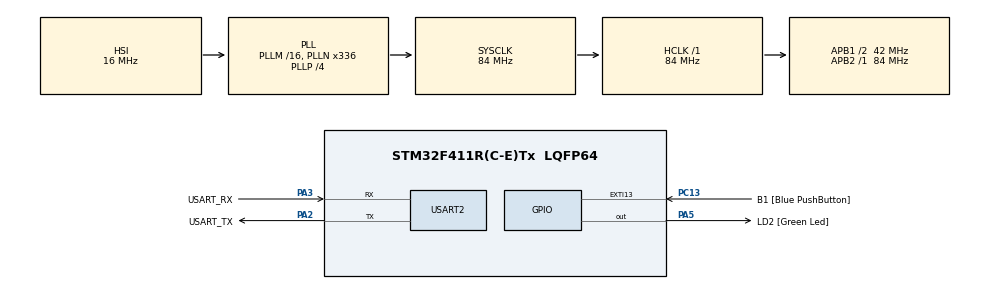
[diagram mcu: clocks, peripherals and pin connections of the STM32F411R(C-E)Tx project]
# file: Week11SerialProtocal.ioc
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Dma.Request0=USART2_RX
Dma.Request1=USART2_TX
Dma.USART2_RX.0.Direction=DMA_PERIPH_TO_MEMORY
Dma.USART2_RX.0.FIFOMode=DMA_FIFOMODE_DISABLE
Dma.USART2_RX.0.Instance=DMA1_Stream5
Dma.USART2_RX.0.MemDataAlignment=DMA_MDATAALIGN_BYTE
Dma.USART2_RX.0.MemInc=DMA_MINC_ENABLE
Dma.USART2_RX.0.Mode=DMA_CIRCULAR
Dma.USART2_RX.0.PeriphDataAlignment=DMA_PDATAALIGN_BYTE
Dma.USART2_RX.0.PeriphInc=DMA_PINC_DISABLE
Dma.USART2_RX.0.Priority=DMA_PRIORITY_LOW
Dma.USART2_TX.1.Direction=DMA_MEMORY_TO_PERIPH
Dma.USART2_TX.1.FIFOMode=DMA_FIFOMODE_DISABLE
Dma.USART2_TX.1.Instance=DMA1_Stream6
Dma.USART2_TX.1.MemDataAlignment=DMA_MDATAALIGN_BYTE
Dma.USART2_TX.1.MemInc=DMA_MINC_ENABLE
Dma.USART2_TX.1.Mode=DMA_NORMAL
Dma.USART2_TX.1.PeriphDataAlignment=DMA_PDATAALIGN_BYTE
Dma.USART2_TX.1.PeriphInc=DMA_PINC_DISABLE
Dma.USART2_TX.1.Priority=DMA_PRIORITY_LOW
Mcu.Family=STM32F4
Mcu.Name=STM32F411R(C-E)Tx
Mcu.Package=LQFP64
NVIC.DMA1_Stream5_IRQn=true\:0\:0\:false\:false\:true\:false\:true
NVIC.DMA1_Stream6_IRQn=true\:0\:0\:false\:false\:true\:false\:true
NVIC.PriorityGroup=NVIC_PRIORITYGROUP_0
NVIC.USART2_IRQn=true\:0\:0\:false\:false\:true\:true\:true
PA13.GPIO_Label=TMS
PA13.Mode=Serial_Wire
PA13.Signal=SYS_JTMS-SWDIO
PA14.GPIO_Label=TCK
PA14.Mode=Serial_Wire
PA14.Signal=SYS_JTCK-SWCLK
PA2.GPIO_Label=USART_TX
PA2.Mode=Asynchronous
PA2.Signal=USART2_TX
PA3.GPIO_Label=USART_RX
PA3.Mode=Asynchronous
PA3.Signal=USART2_RX
PA5.GPIO_Label=LD2 [Green Led]
PA5.Signal=GPIO_Output
PB3.GPIO_Label=SWO
PB3.Signal=SYS_JTDO-SWO
PC13-ANTI_TAMP.GPIO_Label=B1 [Blue PushButton]
PC13-ANTI_TAMP.GPIO_ModeDefaultEXTI=GPIO_MODE_IT_FALLING
PC13-ANTI_TAMP.Signal=GPXTI13
PC14-OSC32_IN.Mode=LSE-External-Oscillator
PC14-OSC32_IN.Signal=RCC_OSC32_IN
PC15-OSC32_OUT.Mode=LSE-External-Oscillator
PC15-OSC32_OUT.Signal=RCC_OSC32_OUT
PH0\ -\ OSC_IN.Mode=HSE-External-Clock-Source
PH0\ -\ OSC_IN.Signal=RCC_OSC_IN
PH1\ -\ OSC_OUT.Mode=HSE-External-Clock-Source
PH1\ -\ OSC_OUT.Signal=RCC_OSC_OUT
ProjectManager.HeapSize=0x200
ProjectManager.StackSize=0x400
ProjectManager.TargetToolchain=STM32CubeIDE
RCC.48MHZClocksFreq_Value=84000000
RCC.AHBFreq_Value=84000000
RCC.APB1CLKDivider=RCC_HCLK_DIV2
RCC.APB1Freq_Value=42000000
RCC.APB1TimFreq_Value=84000000
RCC.APB2Freq_Value=84000000
RCC.APB2TimFreq_Value=84000000
RCC.CortexFreq_Value=84000000
RCC.FLatency-AdvancedSettings=FLASH_LATENCY_2
RCC.HCLKFreq_Value=84000000
RCC.HSE_VALUE=8000000
RCC.HSI_VALUE=16000000
RCC.PLLN=336
RCC.PLLP=RCC_PLLP_DIV4
RCC.SYSCLKFreq_VALUE=84000000
RCC.SYSCLKSource=RCC_SYSCLKSOURCE_PLLCLK
RCC.VCOOutputFreq_Value=336000000
USART2.VirtualMode=VM_ASYNC
board=NUCLEO-F411RE

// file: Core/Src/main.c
/* USER CODE BEGIN Header */
/**
 ******************************************************************************
 * @file           : main.c
 * @brief          : Main program body
 ******************************************************************************
 * @attention
 *
 * <h2><center>&copy; Copyright (c) 2021 STMicroelectronics.
 * All rights reserved.</center></h2>
 *
 * This software component is licensed by ST under BSD 3-Clause license,
 * the "License"; You may not use this file except in compliance with the
 * License. You may obtain a copy of the License at:
 *                        opensource.org/licenses/BSD-3-Clause
 *
 ******************************************************************************
 */
/* USER CODE END Header */
#include "main.h"

/* USER CODE BEGIN Includes */
#include "stdio.h"
#include <stdlib.h>
#include "string.h"
/* USER CODE END Includes */

/* USER CODE BEGIN PD */
//#define UARTDEBUG
#define MAX_PACKET_LEN 255
//#define UARTDEBUG
/* USER CODE END PD */

UART_HandleTypeDef huart2;
DMA_HandleTypeDef hdma_usart2_rx;
DMA_HandleTypeDef hdma_usart2_tx;

/* USER CODE BEGIN PV */
typedef struct _UartStructure
{
	UART_HandleTypeDef *huart;
	uint16_t TxLen, RxLen;
	uint8_t *TxBuffer;
	uint16_t TxTail, TxHead;
	uint8_t *RxBuffer;
	uint16_t RxTail; //RXHeadUseDMA

} UARTStucrture;

UARTStucrture UART2 = { 0 };

uint8_t MainMemory[255] = { 0 };

uint8_t Round = 0;

typedef enum
{
	DNMXP_idle,
	DNMXP_1stHeader,
	DNMXP_2ndHeader,
	DNMXP_3rdHeader,
	DNMXP_Reserved,
	DNMXP_ID,
	DNMXP_LEN1,
	DNMXP_LEN2,
	DNMXP_Inst,
	DNMXP_ParameterCollect,
	DNMXP_CRCAndExecute

} DNMXPState;
/* USER CODE END PV */

void SystemClock_Config(void);
static void MX_GPIO_Init(void);
static void MX_DMA_Init(void);
static void MX_USART2_UART_Init(void);
/* USER CODE BEGIN PFP */
void UARTInit(UARTStucrture *uart);

void UARTResetStart(UARTStucrture *uart);

uint32_t UARTGetRxHead(UARTStucrture *uart);

int16_t UARTReadChar(UARTStucrture *uart);

void UARTTxDumpBuffer(UARTStucrture *uart);

void UARTTxWrite(UARTStucrture *uart, uint8_t *pData, uint16_t len);

unsigned short update_crc(unsigned short crc_accum, unsigned char *data_blk_ptr,
		unsigned short data_blk_size);
void DynamixelProtocal2(uint8_t *Memory, uint8_t MotorID, int16_t dataIn,
		UARTStucrture *uart);
/* USER CODE END PFP */

int main(void)
{

	/* MCU Configuration--------------------------------------------------------*/

	/* Reset of all peripherals, Initializes the Flash interface and the Systick. */
	HAL_Init();

	/* Configure the system clock */
	SystemClock_Config();

	/* Initialize all configured peripherals */
	MX_GPIO_Init();
	MX_DMA_Init();
	MX_USART2_UART_Init();
	/* USER CODE BEGIN 2 */
	UART2.huart = &huart2;
	UART2.RxLen = 255;
	UART2.TxLen = 255;
	UARTInit(&UART2);
	UARTResetStart(&UART2);
	/* USER CODE END 2 */

	/* Infinite loop */
	/* USER CODE BEGIN WHILE */
	//MainMemory[132] = 0xA6; //For test Read.
	while (1)
	{
		int16_t inputChar = UARTReadChar(&UART2);
		//if input char == -1 ==> No New data
		if (inputChar != -1) //Receive data from inputchar to dataIn.
		{
#ifdef UARTDEBUG
			char temp[32];
			sprintf(temp, "Recived [%d]\r\n", inputChar);
			UARTTxWrite(&UART2, (uint8_t*) temp, strlen(temp));
#else
			DynamixelProtocal2(MainMemory, 1, inputChar, &UART2);
#endif

		}
		/* USER CODE END WHILE */

		/* USER CODE BEGIN 3 */
		UARTTxDumpBuffer(&UART2);
	}
	/* USER CODE END 3 */
}

void SystemClock_Config(void)
{
	RCC_OscInitTypeDef RCC_OscInitStruct =
	{ 0 };
	RCC_ClkInitTypeDef RCC_ClkInitStruct =
	{ 0 };

	/** Configure the main internal regulator output voltage
	 */
	__HAL_RCC_PWR_CLK_ENABLE();
	__HAL_PWR_VOLTAGESCALING_CONFIG(PWR_REGULATOR_VOLTAGE_SCALE1);
	/** Initializes the RCC Oscillators according to the specified parameters
	 * in the RCC_OscInitTypeDef structure.
	 */
	RCC_OscInitStruct.OscillatorType = RCC_OSCILLATORTYPE_HSI;
	RCC_OscInitStruct.HSIState = RCC_HSI_ON;
	RCC_OscInitStruct.HSICalibrationValue = RCC_HSICALIBRATION_DEFAULT;
	RCC_OscInitStruct.PLL.PLLState = RCC_PLL_ON;
	RCC_OscInitStruct.PLL.PLLSource = RCC_PLLSOURCE_HSI;
	RCC_OscInitStruct.PLL.PLLM = 16;
	RCC_OscInitStruct.PLL.PLLN = 336;
	RCC_OscInitStruct.PLL.PLLP = RCC_PLLP_DIV4;
	RCC_OscInitStruct.PLL.PLLQ = 4;
	if (HAL_RCC_OscConfig(&RCC_OscInitStruct) != HAL_OK)
	{
		Error_Handler();
	}
	/** Initializes the CPU, AHB and APB buses clocks
	 */
	RCC_ClkInitStruct.ClockType = RCC_CLOCKTYPE_HCLK | RCC_CLOCKTYPE_SYSCLK
			| RCC_CLOCKTYPE_PCLK1 | RCC_CLOCKTYPE_PCLK2;
	RCC_ClkInitStruct.SYSCLKSource = RCC_SYSCLKSOURCE_PLLCLK;
	RCC_ClkInitStruct.AHBCLKDivider = RCC_SYSCLK_DIV1;
	RCC_ClkInitStruct.APB1CLKDivider = RCC_HCLK_DIV2;
	RCC_ClkInitStruct.APB2CLKDivider = RCC_HCLK_DIV1;

	if (HAL_RCC_ClockConfig(&RCC_ClkInitStruct, FLASH_LATENCY_2) != HAL_OK)
	{
		Error_Handler();
	}
}

static void MX_USART2_UART_Init(void)
{

	huart2.Instance = USART2;
	huart2.Init.BaudRate = 115200;
	huart2.Init.WordLength = UART_WORDLENGTH_8B;
	huart2.Init.StopBits = UART_STOPBITS_1;
	huart2.Init.Parity = UART_PARITY_NONE;
	huart2.Init.Mode = UART_MODE_TX_RX;
	huart2.Init.HwFlowCtl = UART_HWCONTROL_NONE;
	huart2.Init.OverSampling = UART_OVERSAMPLING_16;
	if (HAL_UART_Init(&huart2) != HAL_OK)
	{
		Error_Handler();
	}

}

static void MX_DMA_Init(void)
{

	/* DMA controller clock enable */
	__HAL_RCC_DMA1_CLK_ENABLE();

	/* DMA interrupt init */
	/* DMA1_Stream5_IRQn interrupt configuration */
	HAL_NVIC_SetPriority(DMA1_Stream5_IRQn, 0, 0);
	HAL_NVIC_EnableIRQ(DMA1_Stream5_IRQn);
	/* DMA1_Stream6_IRQn interrupt configuration */
	HAL_NVIC_SetPriority(DMA1_Stream6_IRQn, 0, 0);
	HAL_NVIC_EnableIRQ(DMA1_Stream6_IRQn);

}

static void MX_GPIO_Init(void)
{
	GPIO_InitTypeDef GPIO_InitStruct =
	{ 0 };

	/* GPIO Ports Clock Enable */
	__HAL_RCC_GPIOC_CLK_ENABLE();
	__HAL_RCC_GPIOH_CLK_ENABLE();
	__HAL_RCC_GPIOA_CLK_ENABLE();
	__HAL_RCC_GPIOB_CLK_ENABLE();

	/*Configure GPIO pin Output Level */
	HAL_GPIO_WritePin(LD2_GPIO_Port, LD2_Pin, GPIO_PIN_RESET);

	/*Configure GPIO pin : B1_Pin */
	GPIO_InitStruct.Pin = B1_Pin;
	GPIO_InitStruct.Mode = GPIO_MODE_IT_FALLING;
	GPIO_InitStruct.Pull = GPIO_NOPULL;
	HAL_GPIO_Init(B1_GPIO_Port, &GPIO_InitStruct);

	/*Configure GPIO pin : LD2_Pin */
	GPIO_InitStruct.Pin = LD2_Pin;
	GPIO_InitStruct.Mode = GPIO_MODE_OUTPUT_PP;
	GPIO_InitStruct.Pull = GPIO_NOPULL;
	GPIO_InitStruct.Speed = GPIO_SPEED_FREQ_LOW;
	HAL_GPIO_Init(LD2_GPIO_Port, &GPIO_InitStruct);

}

/* USER CODE BEGIN 4 */
void UARTInit(UARTStucrture *uart)
{
	//dynamic memory allocate
	uart->RxBuffer = (uint8_t*) calloc(sizeof(uint8_t), UART2.RxLen);
	uart->TxBuffer = (uint8_t*) calloc(sizeof(uint8_t), UART2.TxLen);
	uart->RxTail = 0;
	uart->TxTail = 0;
	uart->TxHead = 0;

}

void UARTResetStart(UARTStucrture *uart)
{
	HAL_UART_Receive_DMA(uart->huart, uart->RxBuffer, uart->RxLen);
}
uint32_t UARTGetRxHead(UARTStucrture *uart)
{
	return uart->RxLen - __HAL_DMA_GET_COUNTER(uart->huart->hdmarx);
}
int16_t UARTReadChar(UARTStucrture *uart)
{
	int16_t Result = -1; // -1 Mean no new data

	//check Buffer Position
	if (uart->RxTail != UARTGetRxHead(uart))
	{
		//get data from buffer
		Result = uart->RxBuffer[uart->RxTail];
		uart->RxTail = (uart->RxTail + 1) % uart->RxLen;

	}
	return Result;

}
void UARTTxDumpBuffer(UARTStucrture *uart)
{
	static uint8_t MultiProcessBlocker = 0;

	if (uart->huart->gState == HAL_UART_STATE_READY && !MultiProcessBlocker)
	{
		MultiProcessBlocker = 1;

		if (uart->TxHead != uart->TxTail)
		{
			//find len of data in buffer (Circular buffer but do in one way)
			uint16_t sentingLen =
					uart->TxHead > uart->TxTail ?
							uart->TxHead - uart->TxTail :
							uart->TxLen - uart->TxTail;

			//sent data via DMA
			HAL_UART_Transmit_DMA(uart->huart, &(uart->TxBuffer[uart->TxTail]),
					sentingLen);
			//move tail to new position
			uart->TxTail = (uart->TxTail + sentingLen) % uart->TxLen;

		}
		MultiProcessBlocker = 0;
	}

}
void UARTTxWrite(UARTStucrture *uart, uint8_t *pData, uint16_t len)
{

	//Variable  =  (expression) ? [True] : [False]

	/*
	 * if( len <= uart->TxLen)
	 * {
	 * 		lenAddBuffer = len;
	 * }
	 * else
	 * {
	 * 		lenAddBuffer = uart->TxLen;
	 * }
	 */

	//check data len is more than buffur?
	uint16_t lenAddBuffer = (len <= uart->TxLen) ? len : uart->TxLen;

	// find number of data before end of ring buffer
	uint16_t numberOfdataCanCopy =
			lenAddBuffer <= uart->TxLen - uart->TxHead ?
					lenAddBuffer : uart->TxLen - uart->TxHead;
	//copy data to the buffer
	memcpy(&(uart->TxBuffer[uart->TxHead]), pData, numberOfdataCanCopy);

	//Move Head to new position

	uart->TxHead = (uart->TxHead + lenAddBuffer) % uart->TxLen;
	//Check that we copy all data That We can?
	if (lenAddBuffer != numberOfdataCanCopy)
	{
		memcpy(uart->TxBuffer, &(pData[numberOfdataCanCopy]),
				lenAddBuffer - numberOfdataCanCopy);
	}
	UARTTxDumpBuffer(uart);

}

void DynamixelProtocal2(uint8_t *Memory, uint8_t MotorID, int16_t dataIn,
		UARTStucrture *uart)
{
	//all Static Variable
	static DNMXPState State = DNMXP_idle;
	static uint16_t datalen = 0;
	static uint16_t CollectedData = 0;
	static uint8_t inst = 0;
	static uint8_t parameter[256] =
	{ 0 };
	static uint16_t CRCCheck = 0;
	static uint16_t packetSize = 0;
	static uint16_t CRC_accum;

	//State Machine
	switch (State)
	{
	case DNMXP_idle:
		if (dataIn == 0xFF)
			State = DNMXP_1stHeader;
		break;
	case DNMXP_1stHeader:
		if (dataIn == 0xFF)
			State = DNMXP_2ndHeader;
		else
			State = DNMXP_idle;
		break;
	case DNMXP_2ndHeader:
		if (dataIn == 0xFD)
			State = DNMXP_3rdHeader;
		else if (dataIn == 0xFF)
			; //do nothing
		else
			State = DNMXP_idle;
		break;
	case DNMXP_3rdHeader:
		if (dataIn == 0x00)
			State = DNMXP_Reserved;
		else
			State = DNMXP_idle;
		break;
	case DNMXP_Reserved: //Check Motor ID
		if ((dataIn == MotorID) | (dataIn == 0xFE))
			State = DNMXP_ID;
		else
			State = DNMXP_idle;
		break;
	case DNMXP_ID:
		datalen = dataIn & 0xFF; //datalen is Length of data. This line is receive dataIn that is Len_L (8 bit lower).
		State = DNMXP_LEN1;
		break;
	case DNMXP_LEN1:
		datalen |= (dataIn & 0xFF) << 8;  //This line is receive dataIn that is Len_H (8 bit higher).
		State = DNMXP_LEN2;
		break;
	case DNMXP_LEN2:
		inst = dataIn;
		State = DNMXP_Inst; //This line is receive dataIn that is instruction.
		break;
	case DNMXP_Inst:
		if (datalen > 3) //if datalen has more than 3 (inst, parameter 1, ..., parameter n, CRC 1, CRC2), it will receive next dataIn as parameter.
		{
			parameter[0] = dataIn;
			CollectedData = 1; //inst 1 + para[0] 1
			State = DNMXP_ParameterCollect;
		}
		else //if datalen has 3 (inst, CRC 1, CRC 2) or less than, it will check CRC.
		{
			CRCCheck = dataIn & 0xff;
			State = DNMXP_CRCAndExecute;
		}

		break;
	case DNMXP_ParameterCollect: //Receive dataIn as parameter.

		if (datalen-3 > CollectedData) //datalen is length of protocol. datalen-3 is remove inst, CRC 1 and CRC 2.
		{
			parameter[CollectedData] = dataIn; //It will collect only parameter.
			CollectedData++;
		}
		else
		{
			CRCCheck = dataIn & 0xff;
			State = DNMXP_CRCAndExecute;
		}
		break;
	case DNMXP_CRCAndExecute: //Check CRC
		CRCCheck |= (dataIn & 0xff) << 8; //This line is receive dataIn that is CRC 2 (CRC_H).
		//Check CRC
		CRC_accum = 0;
		packetSize = datalen + 7;
		//check overlapse buffer(array)
		if (uart->RxTail - packetSize >= 0) //not overlapse in array that collect dataIn.
		{
			CRC_accum = update_crc(CRC_accum,
					&(uart->RxBuffer[uart->RxTail - packetSize]),
					packetSize - 2);
		}
		else//overlapse in array that collect dataIn.
		{
			uint16_t firstPartStart = uart->RxTail - packetSize + uart->RxLen;
			CRC_accum = update_crc(CRC_accum, &(uart->RxBuffer[firstPartStart]),
					uart->RxLen - firstPartStart);
			CRC_accum = update_crc(CRC_accum, uart->RxBuffer, uart->RxTail - 2);

		}

		if (CRC_accum == CRCCheck) //Check CRC
		{
			switch (inst) //inst or instruction, it will tell you what this protocal want to do.
			{
			case 0x01:// ping
			{
				//create packet template
				uint8_t temp[] =
				{ 0xff, 0xff, 0xfd, 0x00, 0x00, 0x04, 0x00, 0x55,0x00, 0x00, 0x00};
				//config MotorID
				temp[4] = MotorID;
				//calcuate CRC
				uint16_t crc_calc = update_crc(0, temp, 9);
				temp[9] = crc_calc & 0xff;
				temp[10] = (crc_calc >> 8) & 0xFF;
				//Sent Response Packet
				UARTTxWrite(uart, temp, 11);
				break;
			}

			case 0x02://READ
			{
				uint16_t startAddr = (parameter[0]&0xFF)|(parameter[1]<<8 &0xFF); //(parameter[0]&0xFF) is 8 bit lower. (parameter[1]<<8 &0xFF) is 8 bit higher.
				//startAddr is address in MainMemory (array) that want to read.
				//0xff is used for filter data to be 8 bit.
				uint16_t numberOfDataToRead = (parameter[2]&0xFF)|(parameter[3]<<8 &0xFF);
				uint8_t temp[] = {0xff,0xff,0xfd,0x00,0x00,0x00,0x00,0x55,0x00};//Packet for feedback. It don't have parameter and CRC because it will be create after this line.
				//{0xff,0xff,0xfd,0x00,0x00,0x00,0x00,0x55,0x00} = {H1,H2,H3,RSRV,Packet ID,LEN1,LEN2,INST,ERR}
				temp[4] = MotorID;
				temp[5] = (numberOfDataToRead + 4) & 0xff ; // +inst+err+crc1+crc2 //This is LEN1.
				temp[6] = ((numberOfDataToRead + 4)>>8) & 0xff ; //This is LEN2.
				uint16_t crc_calc = update_crc(0, temp, 9); //Calculate CRC from {H1,H2,H3,RSRV,Packet ID,LEN1,LEN2,INST,ERR}.
				crc_calc = update_crc(crc_calc ,&(Memory[startAddr]),numberOfDataToRead);//Calculate CRC from Memory[startAddr].
				uint8_t crctemp[2];
				crctemp[0] = crc_calc&0xff;
				crctemp[1] = (crc_calc>>8)&0xff;
				UARTTxWrite(uart, temp,9); //Write {H1,H2,H3,RSRV,Packet ID,LEN1,LEN2,INST,ERR} (It don't have parameter and CRC).
				UARTTxWrite(uart, &(Memory[startAddr]),numberOfDataToRead);//Write parameter.
				UARTTxWrite(uart, crctemp,2);//Write CRC 1 and CRC 2.
				break;
			}
			case 0x03://WRITE
			{
				//LAB
				uint16_t startAddr = (parameter[0]&0xFF)|(parameter[1]<<8 &0xFF); //Start at address in MainMemory.
				uint8_t temp[] = {0xff,0xff,0xfd,0x00,0x00,0x04,0x00,0x55,0x00,0x00,0x00};//Create packet for feedback.
				temp[4] = MotorID;
				uint16_t crc_calc = update_crc(0, temp, 9);
				temp[9] = crc_calc & 0xff;
				temp[10] = (crc_calc >> 8) & 0xFF;

				//Write parameter in MainMemory
				while(Round < CollectedData - 2)
				{
					MainMemory[startAddr+Round] = parameter[2+Round];
					Round += 1;
				}
				Round = 0;
				UARTTxWrite(uart, temp, 11); //Write {H1,H2,H3,RSRV,Packet ID,LEN1,LEN2,INST,ERR,CRC1,CRC2}
				break;
			}
			default: //Unknown Inst
			{
				uint8_t temp[] =
				{ 0xff, 0xff, 0xfd, 0x00, 0x00, 0x05, 0x00, 0x55, 0x02, 0x00,
						0x00 };
				temp[4] = MotorID;
				uint16_t crc_calc = update_crc(0, temp, 9);
				temp[9] = crc_calc & 0xff;
				temp[10] = (crc_calc >> 8) & 0xFF;
				UARTTxWrite(uart, temp, 11);

				break;
			}
			}
		}
		else //crc error
		{
			uint8_t temp[] =
			{ 0xff, 0xff, 0xfd, 0x00, 0x00, 0x05, 0x00, 0x55, 0x03, 0x00, 0x00 }; //0x03, it mean "Error".
			temp[4] = MotorID;
			uint16_t crc_calc = update_crc(0, temp, 9);
			temp[9] = crc_calc & 0xff;
			temp[10] = (crc_calc >> 8) & 0xFF;
			UARTTxWrite(uart, temp, 11);
		}
		State = DNMXP_idle;
		break;
	}

}
unsigned short update_crc(unsigned short crc_accum, unsigned char *data_blk_ptr,
		unsigned short data_blk_size)
{
	unsigned short i, j;
	unsigned short crc_table[256] =
	{ 0x0000, 0x8005, 0x800F, 0x000A, 0x801B, 0x001E, 0x0014, 0x8011, 0x8033,
			0x0036, 0x003C, 0x8039, 0x0028, 0x802D, 0x8027, 0x0022, 0x8063,
			0x0066, 0x006C, 0x8069, 0x0078, 0x807D, 0x8077, 0x0072, 0x0050,
			0x8055, 0x805F, 0x005A, 0x804B, 0x004E, 0x0044, 0x8041, 0x80C3,
			0x00C6, 0x00CC, 0x80C9, 0x00D8, 0x80DD, 0x80D7, 0x00D2, 0x00F0,
			0x80F5, 0x80FF, 0x00FA, 0x80EB, 0x00EE, 0x00E4, 0x80E1, 0x00A0,
			0x80A5, 0x80AF, 0x00AA, 0x80BB, 0x00BE, 0x00B4, 0x80B1, 0x8093,
			0x0096, 0x009C, 0x8099, 0x0088, 0x808D, 0x8087, 0x0082, 0x8183,
			0x0186, 0x018C, 0x8189, 0x0198, 0x819D, 0x8197, 0x0192, 0x01B0,
			0x81B5, 0x81BF, 0x01BA, 0x81AB, 0x01AE, 0x01A4, 0x81A1, 0x01E0,
			0x81E5, 0x81EF, 0x01EA, 0x81FB, 0x01FE, 0x01F4, 0x81F1, 0x81D3,
			0x01D6, 0x01DC, 0x81D9, 0x01C8, 0x81CD, 0x81C7, 0x01C2, 0x0140,
			0x8145, 0x814F, 0x014A, 0x815B, 0x015E, 0x0154, 0x8151, 0x8173,
			0x0176, 0x017C, 0x8179, 0x0168, 0x816D, 0x8167, 0x0162, 0x8123,
			0x0126, 0x012C, 0x8129, 0x0138, 0x813D, 0x8137, 0x0132, 0x0110,
			0x8115, 0x811F, 0x011A, 0x810B, 0x010E, 0x0104, 0x8101, 0x8303,
			0x0306, 0x030C, 0x8309, 0x0318, 0x831D, 0x8317, 0x0312, 0x0330,
			0x8335, 0x833F, 0x033A, 0x832B, 0x032E, 0x0324, 0x8321, 0x0360,
			0x8365, 0x836F, 0x036A, 0x837B, 0x037E, 0x0374, 0x8371, 0x8353,
			0x0356, 0x035C, 0x8359, 0x0348, 0x834D, 0x8347, 0x0342, 0x03C0,
			0x83C5, 0x83CF, 0x03CA, 0x83DB, 0x03DE, 0x03D4, 0x83D1, 0x83F3,
			0x03F6, 0x03FC, 0x83F9, 0x03E8, 0x83ED, 0x83E7, 0x03E2, 0x83A3,
			0x03A6, 0x03AC, 0x83A9, 0x03B8, 0x83BD, 0x83B7, 0x03B2, 0x0390,
			0x8395, 0x839F, 0x039A, 0x838B, 0x038E, 0x0384, 0x8381, 0x0280,
			0x8285, 0x828F, 0x028A, 0x829B, 0x029E, 0x0294, 0x8291, 0x82B3,
			0x02B6, 0x02BC, 0x82B9, 0x02A8, 0x82AD, 0x82A7, 0x02A2, 0x82E3,
			0x02E6, 0x02EC, 0x82E9, 0x02F8, 0x82FD, 0x82F7, 0x02F2, 0x02D0,
			0x82D5, 0x82DF, 0x02DA, 0x82CB, 0x02CE, 0x02C4, 0x82C1, 0x8243,
			0x0246, 0x024C, 0x8249, 0x0258, 0x825D, 0x8257, 0x0252, 0x0270,
			0x8275, 0x827F, 0x027A, 0x826B, 0x026E, 0x0264, 0x8261, 0x0220,
			0x8225, 0x822F, 0x022A, 0x823B, 0x023E, 0x0234, 0x8231, 0x8213,
			0x0216, 0x021C, 0x8219, 0x0208, 0x820D, 0x8207, 0x0202 };

	for (j = 0; j < data_blk_size; j++)
	{
		i = ((unsigned short) (crc_accum >> 8) ^ data_blk_ptr[j]) & 0xFF;
		crc_accum = (crc_accum << 8) ^ crc_table[i];
	}

	return crc_accum;
}
/* USER CODE END 4 */

void Error_Handler(void)
{
	__disable_irq();
	while (1)
	{
	}
}

/************************ (C) COPYRIGHT STMicroelectronics *****END OF FILE****/
